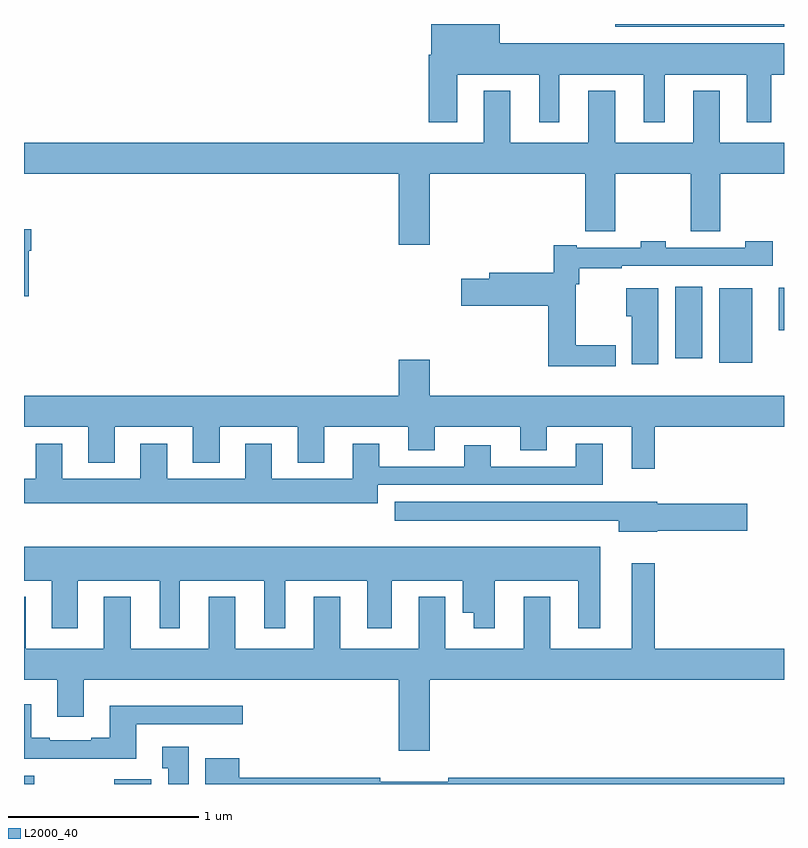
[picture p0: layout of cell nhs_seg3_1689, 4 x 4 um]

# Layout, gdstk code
import gdstk
lib = gdstk.Library(unit=1e-6, precision=1e-09)
def R(c, l, rs):  # rectangles x0, y0, x1, y1
    for r in rs: c.add(gdstk.rectangle(r[:2], r[2:], *l))
def P(c, l, *ps):  # polygons
    for p in ps: c.add(gdstk.Polygon(p, *l))
L2000_40 = (2000, 40)

nhs_seg3_1689 = lib.new_cell('nhs_seg3_1689')
R(nhs_seg3_1689, L2000_40, [(199,668.4,199.054,668.443), (199.475,668.4,199.671,668.425), (202.658,670.616,202.834,671.008), (202.427,670.641,202.57,671.017), (202.973,670.787,203,671.011), (202.113,672.386,203,672.4)])
P(nhs_seg3_1689, L2000_40, [(201.28,672.134),(201.713,672.134),(201.713,671.883),(201.817,671.883),(201.817,672.134),(202.262,672.134),(202.262,671.883),(202.372,671.883),(202.372,672.134),(202.805,672.134),(202.805,671.883),(202.933,671.883),(202.933,672.134),(203,672.134),(203,672.298),(201.505,672.298),(201.505,672.4),(201.143,672.4),(201.143,672.238),(201.131,672.238),(201.131,671.883),(201.28,671.883)],
  [(201.136,671.612),(201.953,671.612),(201.953,671.308),(202.112,671.308),(202.112,671.612),(202.51,671.612),(202.51,671.308),(202.664,671.308),(202.664,671.612),(203,671.612),(203,671.776),(202.663,671.776),(202.663,672.049),(202.523,672.049),(202.523,671.776),(202.111,671.776),(202.111,672.049),(201.971,672.049),(201.971,671.776),(201.559,671.776),(201.559,672.049),(201.419,672.049),(201.419,671.776),(199,671.776),(199,671.612),(200.972,671.612),(200.972,671.238),(201.136,671.238)],
  [(199.024,671.207),(199.037,671.207),(199.037,671.32),(199,671.32),(199,670.967),(199.024,670.967)],
  [(202.114,670.708),(201.904,670.708),(201.904,671.03),(201.923,671.03),(201.923,671.115),(202.145,671.115),(202.145,671.127),(202.942,671.127),(202.942,671.256),(202.797,671.256),(202.797,671.223),(202.377,671.223),(202.377,671.256),(202.245,671.256),(202.245,671.223),(201.91,671.223),(201.91,671.236),(201.787,671.236),(201.787,671.09),(201.449,671.09),(201.449,671.06),(201.3,671.06),(201.3,670.918),(201.758,670.918),(201.758,670.598),(202.114,670.598)],
  [(202.339,671.008),(202.169,671.008),(202.169,670.861),(202.199,670.861),(202.199,670.608),(202.339,670.608)],
  [(202.321,670.28),(203,670.28),(203,670.444),(201.136,670.444),(201.136,670.633),(200.972,670.633),(200.972,670.444),(199,670.444),(199,670.28),(199.337,670.28),(199.337,670.091),(199.477,670.091),(199.477,670.28),(199.889,670.28),(199.889,670.091),(200.029,670.091),(200.029,670.28),(200.441,670.28),(200.441,670.091),(200.581,670.091),(200.581,670.28),(201.023,670.28),(201.023,670.156),(201.163,670.156),(201.163,670.28),(201.611,670.28),(201.611,670.156),(201.751,670.156),(201.751,670.28),(202.199,670.28),(202.199,670.059),(202.321,670.059)],
  [(200.863,669.975),(202.045,669.975),(202.045,670.192),(201.905,670.192),(201.905,670.071),(201.457,670.071),(201.457,670.183),(201.317,670.183),(201.317,670.071),(200.869,670.071),(200.869,670.192),(200.729,670.192),(200.729,670.006),(200.305,670.006),(200.305,670.192),(200.165,670.192),(200.165,670.006),(199.753,670.006),(199.753,670.192),(199.613,670.192),(199.613,670.006),(199.201,670.006),(199.201,670.192),(199.061,670.192),(199.061,670.006),(199,670.006),(199,669.878),(200.863,669.878)],
  [(202.332,669.734),(202.807,669.734),(202.807,669.876),(202.332,669.876),(202.332,669.886),(200.952,669.886),(200.952,669.785),(202.13,669.785),(202.13,669.728),(202.332,669.728)],
  [(199.282,669.47),(199.715,669.47),(199.715,669.219),(199.819,669.219),(199.819,669.47),(200.264,669.47),(200.264,669.219),(200.374,669.219),(200.374,669.47),(200.807,669.47),(200.807,669.219),(200.935,669.219),(200.935,669.47),(201.308,669.47),(201.308,669.302),(201.368,669.302),(201.368,669.219),(201.478,669.219),(201.478,669.47),(201.917,669.47),(201.917,669.219),(202.033,669.219),(202.033,669.649),(199,669.649),(199,669.47),(199.145,669.47),(199.145,669.219),(199.282,669.219)],
  [(201.136,668.948),(203,668.948),(203,669.112),(202.321,669.112),(202.321,669.562),(202.199,669.562),(202.199,669.112),(201.769,669.112),(201.769,669.385),(201.629,669.385),(201.629,669.112),(201.217,669.112),(201.217,669.385),(201.077,669.385),(201.077,669.112),(200.665,669.112),(200.665,669.385),(200.525,669.385),(200.525,669.112),(200.113,669.112),(200.113,669.385),(199.973,669.385),(199.973,669.112),(199.561,669.112),(199.561,669.385),(199.421,669.385),(199.421,669.112),(199.009,669.112),(199.009,669.385),(199,669.385),(199,668.948),(199.175,668.948),(199.175,668.754),(199.315,668.754),(199.315,668.948),(200.972,668.948),(200.972,668.574),(201.136,668.574)],
  [(199.591,668.715),(200.152,668.715),(200.152,668.812),(199.451,668.812),(199.451,668.644),(199.355,668.644),(199.355,668.631),(199.135,668.631),(199.135,668.644),(199.039,668.644),(199.039,668.821),(199,668.821),(199,668.534),(199.591,668.534)],
  [(199.867,668.596),(199.727,668.596),(199.727,668.483),(199.76,668.483),(199.76,668.4),(199.867,668.4)],
  [(203,668.432),(201.232,668.432),(201.232,668.413),(200.876,668.413),(200.876,668.432),(200.134,668.432),(200.134,668.536),(199.955,668.536),(199.955,668.4),(203,668.4)])

lib.write_gds('nhs_seg3_1689.gds')
